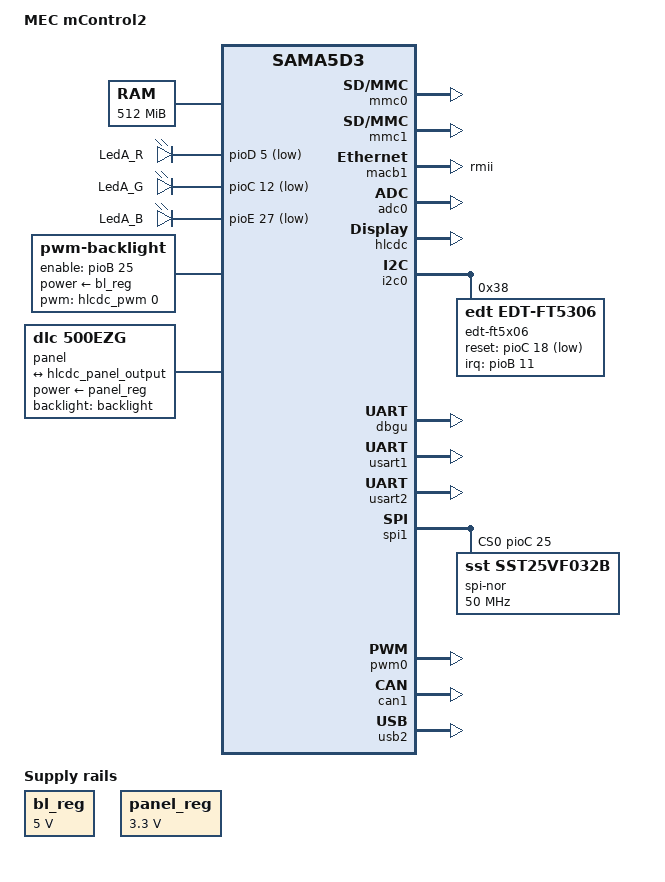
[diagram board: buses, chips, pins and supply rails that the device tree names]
/*
 * devicetree.dts - Device Tree file for MEC mControl2 board
 *
 * Copyright (C) 2016 MEC Electronics
 *
 */
/dts-v1/;
#include "sama5d3.dtsi"

#include "sama5d3_can.dtsi"
//#include "sama5d3_gmac.dtsi"
#include "sama5d3_emac.dtsi"
#include "sama5d3_lcd.dtsi"
#include "sama5d3_mci2.dtsi"
#include "sama5d3_tcb1.dtsi"
#include "sama5d3_uart.dtsi"

/ {
	model = "MEC mControl2";
	//compatible = "atmel,sama5d36_MMILX", "atmel,sama5d3", "atmel,sama5";
	compatible = "atmel,sama5d36ek", "atmel,sama5d31ek", "atmel,sama5ek", "atmel,sama5d3", "atmel,sama5";

	chosen {
		version = "PLATZHALTER";
	};

	memory {
		reg = <0x20000000 0x20000000>;
	};

	clocks {
		#address-cells = <1>;
		#size-cells = <1>;
		ranges;

		main_clock: clock@0 {
			compatible = "atmel,osc", "fixed-clock";
			clock-frequency = <12000000>;
		};
		
		slow_xtal {
                        clock-frequency = <32768>;
                };

                main_xtal {
                        clock-frequency = <12000000>;
                };

	};

	ahb {
		apb {
			//mmcs
			mmc0: mmc@f0000000 {
				pinctrl-names = "default";
				pinctrl-0 = <&pinctrl_mmc0_clk_cmd_dat0 &pinctrl_mmc0_dat1_3>;
				status = "okay";
				slot@0 {
					reg = <0>;
					bus-width = <4>;
					//cd-gpios = <&pioD 17 GPIO_ACTIVE_HIGH>;
				};
			};

			mmc1: mmc@f8000000 {
				pinctrl-names = "default";
				pinctrl-0 = <&pinctrl_mmc1_clk_cmd_dat0 &pinctrl_mmc1_dat1_3>;
				status = "okay";
				slot@0 {
					reg = <0>;
					bus-width = <4>;
					//cd-gpios = <&pioD 18 GPIO_ACTIVE_HIGH>;
				};
			};

			//Netzwerk
			macb1: ethernet@f802c000 {
				phy-mode = "rmii";
				status = "okay";
			};

			//resistiver Touch
			adc0: adc@f8018000 {
				pinctrl-names = "default";
				pinctrl-0 = <
					&pinctrl_adc0_adtrg
					&pinctrl_adc0_ad0
					&pinctrl_adc0_ad1
					&pinctrl_adc0_ad2
					&pinctrl_adc0_ad3
					&pinctrl_adc0_ad4
					&pinctrl_adc0_ad5
					>;
				atmel,adc-clock-rate = <1000000>;
				atmel,adc-ts-wires = <4>;
				atmel,adc-ts-pressure-threshold = <10000>;
				status = "okay";
			};

			//LCD
			hlcdc: hlcdc@f0030000 {
                                status = "okay";
                                hlcdc-display-controller {
                                        pinctrl-names = "default";
                                        pinctrl-0 = <&pinctrl_lcd_base &pinctrl_lcd_rgb888>;

                                        port@0 {
                                                hlcdc_panel_output: endpoint@0 {
                                                        reg = <0>;
                                                        remote-endpoint = <&panel_input>;
                                                };
                                        };
                                };
                        };

			//kapazitiver Touch			
			i2c0: i2c@f0014000 {
				status = "okay";
				edt-ft5x06@38 {
					compatible = "edt,edt-ft5306","edt,edt-ft5x06";
					reg = <0x38>;
					pinctrl-names = "default";
					pinctrl-0 = <&pinctrl_edt_ft5x06 &pinctrl_edt_ft5x06_irq>;
					/*interrupt-parent = <&pioB>;
					interrupts = <11 0>;
					reset-gpios = <&pioC 18 1>;*/
					interrupt-parent = <&pioB>;
					interrupts = <11 0>;
					reset-gpios = <&pioC 18 GPIO_ACTIVE_LOW>;
					touchscreen-size-x = <800>;
					touchscreen-size-y = <480>;
				};
			};

			dbgu: serial@ffffee00 {
				status = "okay";
			};

			watchdog@fffffe40 {
				status = "okay";
			};

			/*tcb0: timer@f0010000 {
				status = "okay";
			};*/

			usart1: serial@f0020000 {
                                status = "okay";
                        };

			usart2: serial@f8020000 {
				status = "okay";
			};

			spi1: spi@f8008000 {
				cs-gpios = <&pioC 25 0>, <0>, <0>, <0>;
				status = "okay";
				spi-nor@0 {
					compatible = "sst,sst25vf032b", "spansion,s25fl132k", "jedec,spi-nor";
					spi-max-frequency = <50000000>;
					reg = <0>;
				};
			};

			pwm0: pwm@f002c000 {
				status = "okay";
			};

			/*can0: can@f000c000 {
                                status = "okay";
                        };*/

			can1: can@f8010000 {
				status = "okay";
			};

			pinctrl@fffff200 {
				board {
					pinctrl_edt_ft5x06: ft5x06_pins {
						atmel,pins =
							<AT91_PIOC 18 AT91_PERIPH_GPIO AT91_PINCTRL_NONE /* PC18 GPIO */
							 /*AT91_PIOC 19 AT91_PERIPH_GPIO AT91_PINCTRL_NONE*/>; /* PC19 GPIO */
					};
					pinctrl_edt_ft5x06_irq: ft5x06_iqr {
						atmel,pins =
							<AT91_PIOB 11 AT91_PERIPH_GPIO AT91_PINCTRL_PULL_UP_DEGLITCH>; /* PB11 GPIO with pull up deglith */
					};
				};
				tcb0 {
					pinctrl_tcb0_tiob1: tcb0-tiob1 {
						atmel,pins =
							<AT91_PIOC 13 AT91_PERIPH_B AT91_PINCTRL_NONE>; /* PC13 PWM */
					};
				};

			};
		};

                usb2: ehci@00700000 {
                        status = "okay";
                };

	};

	pwm {
		compatible = "atmel,tcb-pwm";
		#pwm-cells = <3>;
		tc-block = <0>;
                pinctrl-names = "default";
                pinctrl-0 = <
                             &pinctrl_tcb0_tiob1
                             >;

	};

	leds {
		compatible = "gpio-leds";

		/*BacklightOff {
			label = "BacklightOff";
			gpios = <&pioB 25 GPIO_ACTIVE_LOW>;
		};*/

		LedA_R {
			label = "LedA_R";
			gpios = <&pioD 5 GPIO_ACTIVE_LOW>;
		};

		LedA_G {
			label = "LedA_G";
			gpios = <&pioC 12 GPIO_ACTIVE_LOW>;
                        linux,default-trigger = "heartbeat";

		};

		LedA_B {
			label = "LedA_B";
			gpios = <&pioE 27 GPIO_ACTIVE_LOW>;
		};
	};

	backlight: backlight {
                compatible = "pwm-backlight";
                pwms = <&hlcdc_pwm 0 20000 0>;
                brightness-levels = <0 1 110 115 120 125 130 135 140 145 150 155 160 165 170 175 180 185 190 255>;	//max brightness level seems buggy. even at 190 the display is flickering
                default-brightness-level = <0>;
                power-supply = <&bl_reg>;
		enable-gpios = <&pioB 25 GPIO_ACTIVE_HIGH>;
                status = "okay";
        };

        bl_reg: backlight_regulator {
                compatible = "regulator-fixed";
                regulator-name = "backlight-power-supply";
                regulator-min-microvolt = <5000000>;
                regulator-max-microvolt = <5000000>;
                status = "okay";
        };

        panel: panel {
                compatible = "dlc,500ezg", "simple-panel";
                backlight = <&backlight>;
                power-supply = <&panel_reg>;
                #address-cells = <1>;
                #size-cells = <0>;
                status = "okay";

                port@0 {
                        #address-cells = <1>;
                        #size-cells = <0>;

                        panel_input: endpoint@0 {
                                reg = <0>;
                                remote-endpoint = <&hlcdc_panel_output>;
                        };
                };
        };

        panel_reg: panel_regulator {
                compatible = "regulator-fixed";
                regulator-name = "panel-power-supply";
                regulator-min-microvolt = <3300000>;
                regulator-max-microvolt = <3300000>;
                status = "okay";
        };

};
